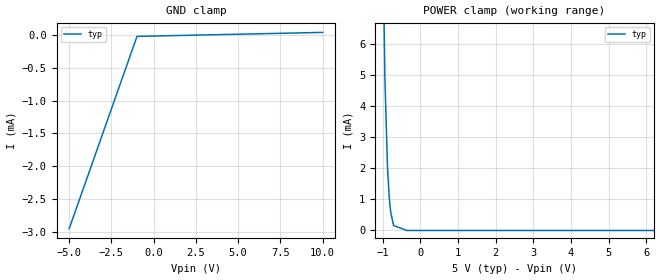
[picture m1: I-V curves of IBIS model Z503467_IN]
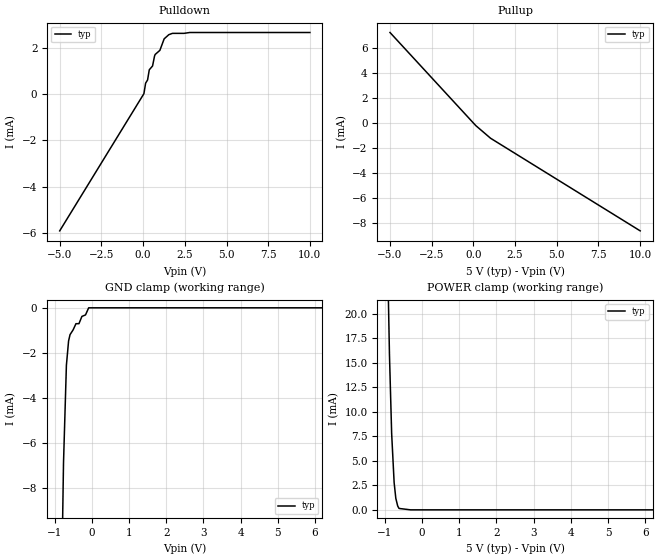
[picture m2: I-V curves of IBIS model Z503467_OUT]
| YOU ARE ONLY AUTHORIZED TO USE THIS SOFTWARE
| ACCORDING TO LICENSOR'S LICENSE RESTRICTIONS.
[IBIS Ver] 3.1
[File Name] mc14011ubcl.ibs
[File Rev] 2.0
[Source] Measured and created by ICX Technology
[Date] Friday 7/14/00 9:07:51 AM
[Copyright]
| (C) COPYRIGHT 1993-2000
| MENTOR GRAPHICS CORPORATION
| ICX STANDARD LIBRARY, ICX PROJECT MODELING,
| ICX CUSTOM MODELING, ICX VENDOR MODEL
| ALL RIGHTS RESERVED.
| THE FOLLOWING ARE TRADEMARKS OR SERVICE MARKS OF
| MENTOR GRAPHICS CORPORATION:ICX (R), ICX STANDARD
| LIBRARY(R), ICX PROJECT MODELING(R), ICX CUSTOM
| MODELING(R), qualityIBIS(TM), MODELVIEWER(TM),
| AND MODELEDITOR(TM)
| ALL COPIES OF SOFTWARE, INCLUDING BUT NOT LIMITED TO
| ANY MODIFICATIONS, ENHANCEMENTS OR DERIVATIVE WORKS,
| MUST CONTAIN ALL MENTOR GRAPHICS CORPORATION'S
| NOTICES AND LEGENDS, INCLUDING THOSE EMBEDDED IN
| SOFTWARE AND THOSE AFFIXED TO SOFTWARE MEDIUM
| AND CONTAINER, AS RECEIVED FROM MENTOR GRAPHICS
| CORPORATION.
|  ZAP Model Builder 2.7
[Component] MC14011UBCL
[Manufacturer] OnSemiconductor
[Package]
| variable   typ   min   max
R_pkg  .21ohms NA NA
L_pkg  4.543nH NA NA
C_pkg  1.8pF NA NA
[Pin] signal_name  model_name  R_pin  L_pin C_pin
1 IN1A Z503467_IN .22 6.757n 2.434p
2 IN2A Z503467_IN .212 4.757n 1.941p
3 OUTA Z503467_OUT .204 3.257n 1.448p
4 OUTB Z503467_OUT .196 2.257n .955p
5 IN1B Z503467_IN .204 3.257n 1.448p
6 IN2B Z503467_IN .212 4.757n 1.941p
7 VSS GND .22 6.757n 2.434p
8 IN1C Z503467_IN .22 6.757n 2.434p
9 IN2C Z503467_IN .212 4.757n 1.941p
10 OUTC Z503467_OUT .204 3.257n 1.448p
11 OUTD Z503467_OUT .196 2.257n .955p
12 IN1D Z503467_IN .204 3.257n 1.448p
13 IN2D Z503467_IN .212 4.757n 1.941p
14 VDD POWER .22 6.757n 2.434p
| Models and submodels in the file (2): Z503467_IN (Input), Z503467_OUT (Output)
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| (C) COPYRIGHT 1993-2000
| MENTOR GRAPHICS CORPORATION
| ICX STANDARD LIBRARY, ICX PROJECT MODELING,
| ICX CUSTOM MODELING, ICX VENDOR MODEL
| ALL RIGHTS RESERVED.
| THE FOLLOWING ARE TRADEMARKS OR SERVICE MARKS OF
| MENTOR GRAPHICS CORPORATION:ICX (R), ICX STANDARD
| LIBRARY(R), ICX PROJECT MODELING(R), ICX CUSTOM
| MODELING(R), qualityIBIS(TM), MODELVIEWER(TM),
| AND MODELEDITOR(TM)
| ALL COPIES OF SOFTWARE, INCLUDING BUT NOT LIMITED TO
| ANY MODIFICATIONS, ENHANCEMENTS OR DERIVATIVE WORKS,
| MUST CONTAIN ALL MENTOR GRAPHICS CORPORATION'S
| NOTICES AND LEGENDS, INCLUDING THOSE EMBEDDED IN
| SOFTWARE AND THOSE AFFIXED TO SOFTWARE MEDIUM
| AND CONTAINER, AS RECEIVED FROM MENTOR GRAPHICS
| CORPORATION.
| Model Application Version 1.89 2/18/99.
[Model] Z503467_IN
Model_type Input
Vinl = 1.500V
Vinh = 3.500V
C_comp 4.000pF NA NA
| variable typ   min   max
[Voltage Range] 5.000V NA NA
[GND Clamp Reference] 0.000V NA NA
[POWER Clamp Reference] 5.000V NA NA
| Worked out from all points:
|   POWER clamp passes 1 mA (typ) near -0.82 V on its own axis
[GND Clamp]
-5V       -2.943mA   NA         NA
-986.5mV  -27.49uA   NA         NA
10V       33.12uA    NA         NA
[POWER Clamp]
-5V       727.4mA    NA         NA
-1.191V   33.29mA    NA         NA
-1.058V   14.99mA    NA         NA
-938mV    4.945mA    NA         NA
-869mV    2.058mA    NA         NA
-820mV    1.037mA    NA         NA
-784mV    603uA      NA         NA
-707mV    161.6uA    NA         NA
-353.5mV  0A         NA         NA
10V       0A         NA         NA
| (C) COPYRIGHT 1993-2000
| MENTOR GRAPHICS CORPORATION
| ICX STANDARD LIBRARY, ICX PROJECT MODELING,
| ICX CUSTOM MODELING, ICX VENDOR MODEL
| ALL RIGHTS RESERVED.
| THE FOLLOWING ARE TRADEMARKS OR SERVICE MARKS OF
| MENTOR GRAPHICS CORPORATION:ICX (R), ICX STANDARD
| LIBRARY(R), ICX PROJECT MODELING(R), ICX CUSTOM
| MODELING(R), qualityIBIS(TM), MODELVIEWER(TM),
| AND MODELEDITOR(TM)
| ALL COPIES OF SOFTWARE, INCLUDING BUT NOT LIMITED TO
| ANY MODIFICATIONS, ENHANCEMENTS OR DERIVATIVE WORKS,
| MUST CONTAIN ALL MENTOR GRAPHICS CORPORATION'S
| NOTICES AND LEGENDS, INCLUDING THOSE EMBEDDED IN
| SOFTWARE AND THOSE AFFIXED TO SOFTWARE MEDIUM
| AND CONTAINER, AS RECEIVED FROM MENTOR GRAPHICS
| CORPORATION.
| Model Application Version 1.89 2/18/99.
[Model] Z503467_OUT
Model_type Output
Vref=0.000V
Rref=500.0Mohms
Cref=50.00pF
Vmeas=2.500V
C_comp 8.000pF NA NA
| variable typ   min   max
[Voltage Range] 5.000V NA NA
[POWER Clamp Reference] 5.000V NA NA
[Pullup Reference] 5.000V NA NA
[Pulldown Reference] 0.000V NA NA
[GND Clamp Reference] 0.000V NA NA
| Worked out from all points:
|   slope of the pulldown table from 0 to 0.75 V, typ, clamps not added: 425 ohm
|   slope of the pullup table from 0 to 0.75 V, typ, clamps not added: 834 ohm
|   GND clamp passes 1 mA (typ) near -0.51 V on its own axis
|   POWER clamp passes 1 mA (typ) near -0.70 V on its own axis
[GND Clamp]
-5V       -391.3mA   NA         NA
-1.026V   -35.06mA   NA         NA
-761.7mV  -6.887mA   NA         NA
-683.6mV  -2.543mA   NA         NA
-625mV    -1.467mA   NA         NA
-586mV    -1.19mA    NA         NA
-426.2mV  -703.1uA   NA         NA
-346.4mV  -703.1uA   NA         NA
-266.6mV  -381.2uA   NA         NA
-169.7mV  -314.6uA   NA         NA
-84.85mV  0A         NA         NA
10V       0A         NA         NA
[Pulldown]
-5V       -5.909mA   NA         NA
48.71mV   13.77uA    NA         NA
151.4mV   467.8uA    NA         NA
268.1mV   604.9uA    NA         NA
370.1mV   1.044mA    NA         NA
567.2mV   1.209mA    NA         NA
722.7mV   1.705mA    NA         NA
1.006V    1.884mA    NA         NA
1.262V    2.38mA     NA         NA
1.541V    2.56mA     NA         NA
2.797V    2.654mA    NA         NA
10V       2.654mA    NA         NA
[Pullup]
-5V       7.206mA    NA         NA
146mV     -232.3uA   NA         NA
1.03V     -1.24mA    NA         NA
10V       -8.636mA   NA         NA
[POWER Clamp]
-5V       824.9mA    NA         NA
-878mV    15.85mA    NA         NA
-819mV    7.781mA    NA         NA
-752mV    2.761mA    NA         NA
-707mV    1.174mA    NA         NA
-656mV    386uA      NA         NA
-620mV    143uA      NA         NA
-310mV    0A         NA         NA
10V       0A         NA         NA
[Ramp]
| variable typ min max
dV/dt_r 2.195/19.14n NA NA
dV/dt_f 2.195/9.631n NA NA
R_load = 2.500kOhms
